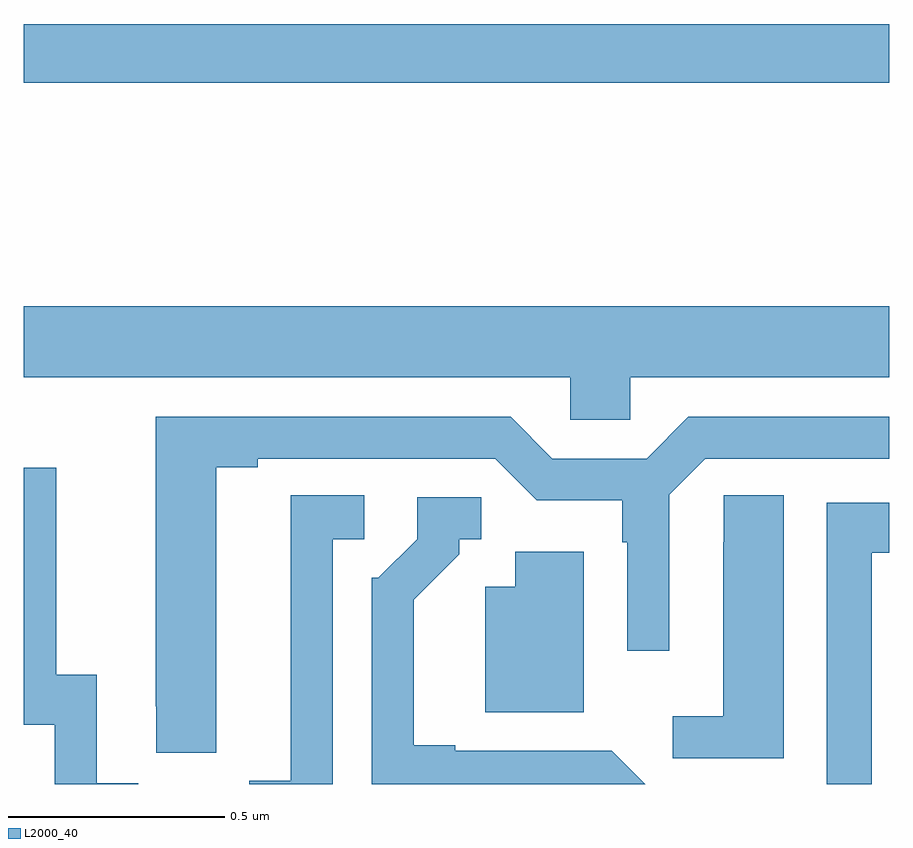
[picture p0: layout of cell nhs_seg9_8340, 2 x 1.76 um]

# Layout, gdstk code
import gdstk
lib = gdstk.Library(unit=1e-6, precision=1e-09)
def R(c, l, rs):  # rectangles x0, y0, x1, y1
    for r in rs: c.add(gdstk.rectangle(r[:2], r[2:], *l))
def P(c, l, *ps):  # polygons
    for p in ps: c.add(gdstk.Polygon(p, *l))
L2000_40 = (2000, 40)

nhs_seg9_8340 = lib.new_cell('nhs_seg9_8340')
R(nhs_seg9_8340, L2000_40, [(216,1177.12,218,1177.256)])
P(nhs_seg9_8340, L2000_40, [(217.401,1176.44),(218,1176.44),(218,1176.604),(216,1176.604),(216,1176.44),(217.263,1176.44),(217.263,1176.342),(217.401,1176.342)],
  [(216.445,1176.232),(216.541,1176.232),(216.541,1176.252),(217.089,1176.252),(217.185,1176.156),(217.383,1176.156),(217.383,1176.059),(217.395,1176.059),(217.395,1175.808),(217.491,1175.808),(217.491,1176.168),(217.575,1176.252),(218,1176.252),(218,1176.348),(217.535,1176.348),(217.439,1176.252),(217.221,1176.252),(217.125,1176.348),(216.305,1176.348),(216.305,1175.68),(216.306,1175.68),(216.306,1175.572),(216.445,1175.572)],
  [(216.265,1175.502),(216.169,1175.502),(216.169,1175.753),(216.075,1175.753),(216.075,1176.231),(216,1176.231),(216,1175.637),(216.072,1175.637),(216.072,1175.5),(216.265,1175.5)],
  [(216.714,1176.066),(216.787,1176.066),(216.787,1176.167),(216.617,1176.167),(216.617,1175.507),(216.521,1175.507),(216.521,1175.5),(216.714,1175.5)],
  [(217.756,1176.167),(217.617,1176.167),(217.617,1176.059),(217.616,1176.059),(217.616,1175.656),(217.5,1175.656),(217.5,1175.559),(217.756,1175.559)],
  [(217.359,1175.577),(216.997,1175.577),(216.997,1175.59),(216.901,1175.59),(216.901,1175.926),(217.006,1176.031),(217.006,1176.066),(217.057,1176.066),(217.057,1176.162),(216.909,1176.162),(216.909,1176.066),(216.819,1175.976),(216.804,1175.976),(216.804,1175.5),(217.436,1175.5)],
  [(217.96,1176.034),(218,1176.034),(218,1176.15),(217.856,1176.15),(217.856,1175.5),(217.96,1175.5)],
  [(217.294,1176.037),(217.136,1176.037),(217.136,1175.956),(217.067,1175.956),(217.067,1175.666),(217.294,1175.666)])

lib.write_gds('nhs_seg9_8340.gds')
